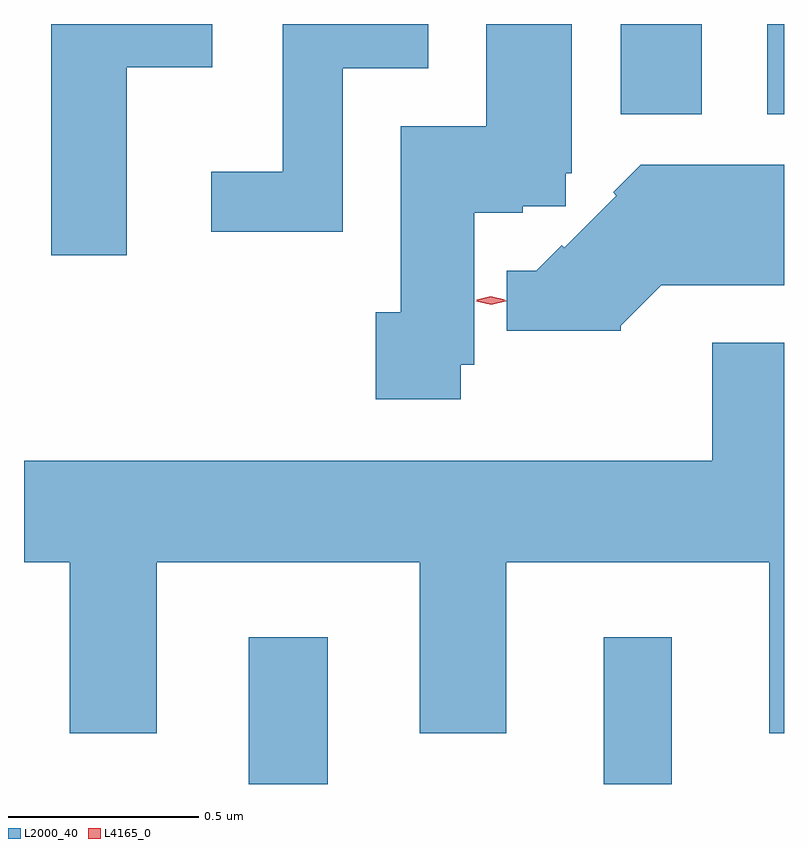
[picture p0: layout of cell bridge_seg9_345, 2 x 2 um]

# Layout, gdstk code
import gdstk
lib = gdstk.Library(unit=1e-6, precision=1e-09)
def R(c, l, rs):  # rectangles x0, y0, x1, y1
    for r in rs: c.add(gdstk.rectangle(r[:2], r[2:], *l))
def P(c, l, *ps):  # polygons
    for p in ps: c.add(gdstk.Polygon(p, *l))
L2000_40 = (2000, 40)
L4165_0 = (4165, 0)

bridge_seg9_345 = lib.new_cell('bridge_seg9_345')
R(bridge_seg9_345, L2000_40, [(681.241,2073.373,681.449,2073.759), (682.176,2073.373,682.354,2073.759), (682.221,2075.136,682.434,2075.373), (682.606,2075.136,682.65,2075.373)])
P(bridge_seg9_345, L2000_40, [(681.799,2074.476),(681.835,2074.476),(681.835,2074.876),(681.962,2074.876),(681.962,2074.893),(682.076,2074.893),(682.076,2074.98),(682.091,2074.98),(682.091,2075.14),(682.092,2075.14),(682.092,2075.373),(681.866,2075.373),(681.866,2075.104),(681.641,2075.104),(681.641,2074.614),(681.576,2074.614),(681.576,2074.386),(681.799,2074.386)],
  [(680.92,2075.259),(681.145,2075.259),(681.145,2075.373),(680.722,2075.373),(680.722,2074.764),(680.92,2074.764)],
  [(681.489,2075.256),(681.714,2075.256),(681.714,2075.373),(681.331,2075.373),(681.331,2074.984),(681.143,2074.984),(681.143,2074.826),(681.489,2074.826)],
  [(682.22,2074.579),(682.327,2074.686),(682.65,2074.686),(682.65,2075.003),(682.273,2075.003),(682.2,2074.93),(682.209,2074.921),(682.072,2074.784),(682.065,2074.791),(681.998,2074.724),(681.92,2074.724),(681.92,2074.566),(682.22,2074.566)],
  [(680.999,2073.956),(681.691,2073.956),(681.691,2073.506),(681.919,2073.506),(681.919,2073.956),(682.611,2073.956),(682.611,2073.506),(682.65,2073.506),(682.65,2074.534),(682.461,2074.534),(682.461,2074.224),(680.65,2074.224),(680.65,2073.956),(680.771,2073.956),(680.771,2073.506),(680.999,2073.506)])
P(bridge_seg9_345, L4165_0, [(681.879,2074.634),(681.839,2074.644),(681.838,2074.644),(681.839,2074.644),(681.878,2074.654),(681.918,2074.645),(681.919,2074.645),(681.918,2074.644)],
  [(681.878,2074.637),(681.841,2074.646),(681.841,2074.647),(681.841,2074.647),(681.878,2074.657),(681.916,2074.648),(681.916,2074.647),(681.916,2074.647)])

lib.write_gds('bridge_seg9_345.gds')
